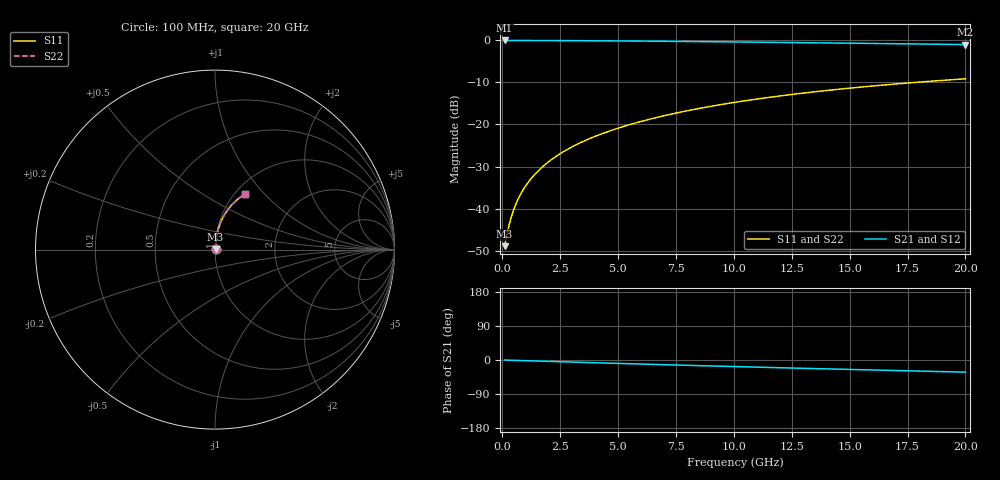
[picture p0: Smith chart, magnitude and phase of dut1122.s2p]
! Touchstone file exported from HFSS 2024.1.0
!  File:  C:/UserFiles/LocalFiles/RDL_TSV_Batchsim/temp_RDL_top_1122_1780047102.aedt
!  Generated:  05:33:55 PM May 29, 2026
!  Design:  RDL_top
!  Project:  temp_RDL_top_1122_1780047102
!  Setup:  Setup1
!  Solution:  Sweep
! Variables:
!  dtsv = 10.80580581um
!  hbump = 3um
!  htsv = 73.31um
!  ldown = 100um
!  lrdl = 412.87um
!  p = 40
!  p1 = 46.99um
!  rhole = 1um
!  t = 450um
!  tdown = 3.915915916um
!  trdl = 3.11um
!  wdown = 15.38538539um
!  wrdl = 16.5um
# GHz S MA R 50.000000
! Terminal data exported
! Port[1] = Box2_T1
! Port[2] = Box2_T2
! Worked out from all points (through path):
!   200 points, 100 MHz to 20 GHz, reference 50 ohm
!   highest |S21| = -0.03 dB at 100 MHz (marker M1); lowest = -1.0 dB at 20 GHz (marker M2)
!   group delay of S21, straight-line fit = 4.44 ps
!   lowest |S11| = -48.9 dB at 100 MHz (marker M3), VSWR 1.01, Z = 50.3 + j0.192 ohm
!   |S11| at or under -10 dB: start of sweep to 17.83 GHz
!   |S22| runs from -48.9 to -9.1 dB; largest |S21 - S12| = 2.1e-15
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0.1  0.003574 32.2  0.997 -0.2  0.997 -0.2  0.003574 32.2
! Gamma 0 0 0 0
! Port Impedance 50 0 50 0
0.2  0.004891 50.7  0.9969 -0.4  0.9969 -0.4  0.004891 50.7
0.3  0.006473 60.4  0.9968 -0.6  0.9968 -0.6  0.006473 60.4
0.4  0.008139 66.0  0.9967 -0.8  0.9967 -0.8  0.008139 66.0
0.5  0.009834 69.7  0.9965 -0.9  0.9965 -0.9  0.009834 69.7
0.6  0.01154 72.3  0.9964 -1.1  0.9964 -1.1  0.01154 72.3
0.8  0.01498 75.7  0.9962 -1.5  0.9962 -1.5  0.01498 75.7
1.1  0.02018 78.7  0.9958 -2.0  0.9958 -2.0  0.02018 78.7
1.3  0.02368 79.9  0.9955 -2.4  0.9955 -2.4  0.02368 79.9
1.6  0.02896 81.2  0.995 -2.9  0.995 -2.9  0.02896 81.2
2.1  0.03782 82.3  0.994 -3.9  0.994 -3.9  0.03782 82.3
2.7  0.04854 82.9  0.9926 -4.9  0.9926 -4.9  0.04854 82.9
3.5  0.06297 83.0  0.9902 -6.4  0.9902 -6.4  0.06296 83.0
4.2  0.07569 82.7  0.9877 -7.6  0.9877 -7.6  0.07568 82.7
5  0.09033 82.2  0.9844 -9.0  0.9844 -9.0  0.09032 82.2
5.9  0.1069 81.4  0.9803 -10.6  0.9803 -10.6  0.1069 81.3
6.8  0.1235 80.4  0.9758 -12.1  0.9758 -12.1  0.1235 80.4
8.4  0.1531 78.4  0.967 -14.7  0.967 -14.7  0.1531 78.4
10.1  0.1843 76.1  0.957 -17.5  0.957 -17.5  0.1842 76.1
13.4  0.243 71.4  0.936 -22.6  0.936 -22.6  0.243 71.4
16.7  0.2982 66.6  0.9138 -27.4  0.9138 -27.4  0.2981 66.6
20  0.3491 61.9  0.8907 -32.1  0.8907 -32.1  0.349 61.9
